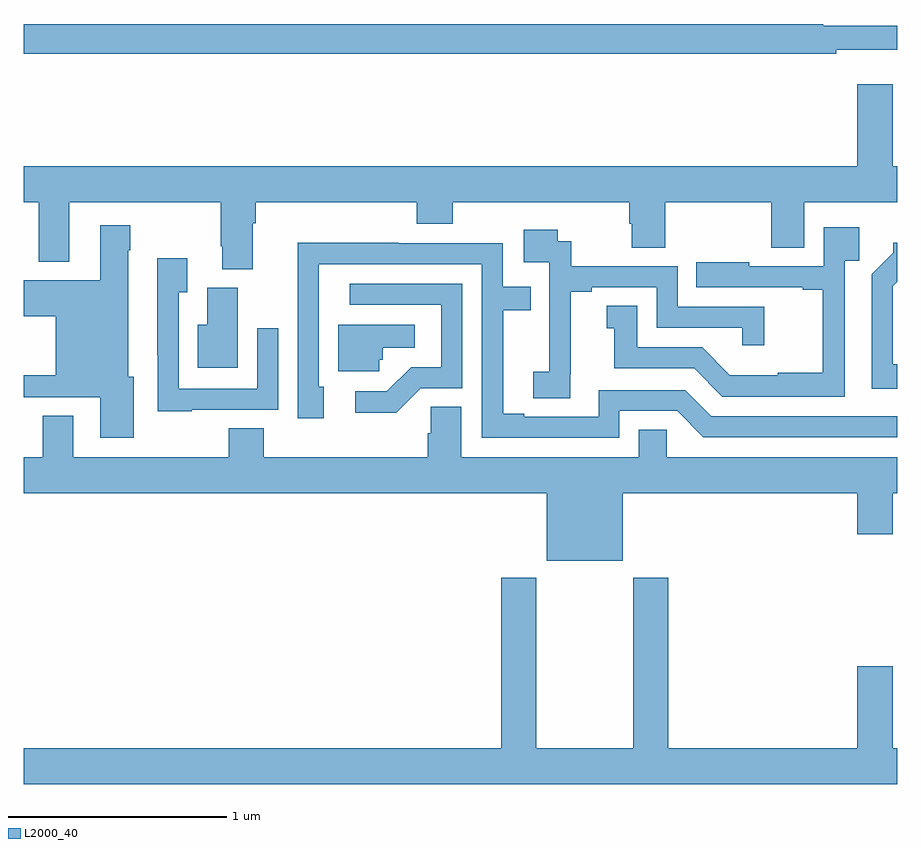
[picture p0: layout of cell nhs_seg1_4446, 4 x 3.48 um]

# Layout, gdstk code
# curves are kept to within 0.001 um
import gdstk
lib = gdstk.Library(unit=1e-6, precision=1e-09)
def P(c, l, *ps):  # polygons
    for p in ps: c.add(gdstk.Polygon(p, *l))
L2000_40 = (2000, 40)

nhs_seg1_4446 = lib.new_cell('nhs_seg1_4446')
P(nhs_seg1_4446, L2000_40, [(356.72,533.783),(357,533.783),(357,533.893),(356.662,533.893),(356.662,533.9),(353,533.9),(353,533.764),(356.72,533.764)],
  [(353,533.084),(353.069,533.084),(353.069,532.811),(353.209,532.811),(353.209,533.084),(353.902,533.084),(353.902,532.882),(353.909,532.882),(353.909,532.777),(354.049,532.777),(354.049,532.988),(354.062,532.988),(354.062,533.084),(354.8,533.084),(354.8,532.985),(354.965,532.985),(354.965,533.084),(355.772,533.084),(355.772,532.986),(355.784,532.986),(355.784,532.876),(355.937,532.876),(355.937,533.084),(356.423,533.084),(356.423,532.876),(356.575,532.876),(356.575,533.084),(357,533.084),(357,533.248),(356.98,533.248),(356.98,533.623),(356.816,533.623),(356.816,533.248),(353,533.248)],
  [(353.503,532.284),(353.479,532.284),(353.479,532.865),(353.487,532.865),(353.487,532.978),(353.351,532.978),(353.351,532.726),(353,532.726),(353,532.562),(353.147,532.562),(353.147,532.292),(353,532.292),(353,532.191),(353.351,532.191),(353.351,532.005),(353.503,532.005)],
  [(356.76,532.817),(356.825,532.817),(356.825,532.969),(356.664,532.969),(356.664,532.791),(356.323,532.791),(356.323,532.81),(356.08,532.81),(356.08,532.695),(356.567,532.695),(356.567,532.683),(356.659,532.683),(356.659,532.303),(356.453,532.303),(356.453,532.291),(356.234,532.291),(356.106,532.419),(355.81,532.419),(355.81,532.61),(355.67,532.61),(355.67,532.507),(355.703,532.507),(355.703,532.323),(356.07,532.323),(356.199,532.194),(356.76,532.194)],
  [(355.502,532.297),(355.504,532.297),(355.504,532.675),(355.6,532.675),(355.6,532.695),(355.899,532.695),(355.899,532.509),(356.289,532.509),(356.289,532.428),(356.39,532.428),(356.39,532.605),(355.995,532.605),(355.995,532.791),(355.508,532.791),(355.508,532.905),(355.446,532.905),(355.446,532.957),(355.29,532.957),(355.29,532.809),(355.407,532.809),(355.407,532.505),(355.406,532.505),(355.406,532.308),(355.332,532.308),(355.332,532.186),(355.502,532.186)],
  [(355.728,532.128),(355.992,532.128),(356.112,532.008),(357,532.008),(357,532.104),(356.148,532.104),(356.028,532.224),(355.632,532.224),(355.632,532.101),(355.291,532.101),(355.291,532.116),(355.195,532.116),(355.195,532.59),(355.322,532.59),(355.322,532.698),(355.194,532.698),(355.194,532.896),(354.716,532.896),(354.716,532.898),(354.254,532.898),(354.255,532.095),(354.373,532.095),(354.373,532.239),(354.351,532.239),(354.351,532.8),(355.098,532.8),(355.098,532.005),(355.728,532.005)],
  [(357,532.343),(356.98,532.343),(356.98,532.699),(357,532.719),(357,532.898),(356.982,532.898),(356.982,532.853),(356.883,532.754),(356.883,532.23),(357,532.23)],
  [(353.769,532.134),(354.165,532.134),(354.165,532.507),(354.069,532.507),(354.069,532.23),(353.709,532.23),(353.709,532.672),(353.749,532.672),(353.749,532.828),(353.612,532.828),(353.612,532.384),(353.613,532.384),(353.613,532.127),(353.769,532.127)],
  [(354.819,532.233),(355.008,532.233),(355.008,532.71),(354.492,532.71),(354.492,532.614),(354.912,532.614),(354.912,532.329),(354.774,532.329),(354.663,532.218),(354.519,532.218),(354.519,532.121),(354.706,532.121)],
  [(353.98,532.692),(353.84,532.692),(353.84,532.522),(353.798,532.522),(353.798,532.325),(353.98,532.325)],
  [(354.627,532.362),(354.645,532.362),(354.645,532.418),(354.79,532.418),(354.79,532.522),(354.44,532.522),(354.44,532.311),(354.627,532.311)],
  [(355.744,531.752),(356.816,531.752),(356.816,531.564),(356.98,531.564),(356.98,531.752),(357,531.752),(357,531.916),(355.944,531.916),(355.944,532.043),(355.817,532.043),(355.817,531.916),(355.003,531.916),(355.003,532.148),(354.864,532.148),(354.864,532.025),(354.851,532.025),(354.851,531.916),(354.098,531.916),(354.098,532.049),(353.938,532.049),(353.938,531.916),(353.227,531.916),(353.227,532.106),(353.087,532.106),(353.087,531.916),(353,531.916),(353,531.752),(355.394,531.752),(355.394,531.443),(355.744,531.443)],
  [(357,530.584),(356.98,530.584),(356.98,530.959),(356.816,530.959),(356.816,530.584),(355.952,530.584),(355.952,531.364),(355.792,531.364),(355.792,530.584),(355.347,530.584),(355.347,531.364),(355.187,531.364),(355.187,530.584),(353,530.584),(353,530.42),(357,530.42)])

lib.write_gds('nhs_seg1_4446.gds')
